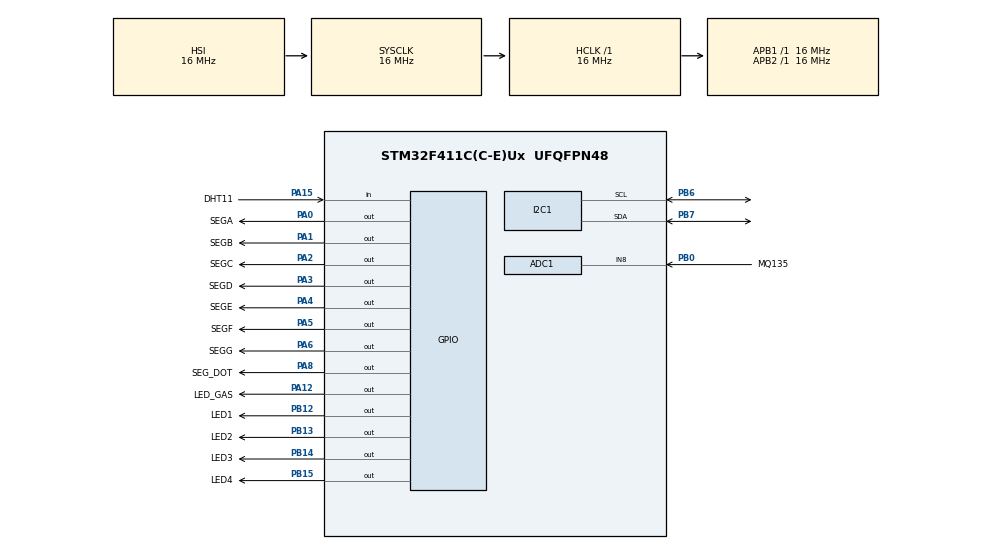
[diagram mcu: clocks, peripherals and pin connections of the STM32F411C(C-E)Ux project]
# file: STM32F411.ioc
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ADC1.Channel-0\#ChannelRegularConversion=ADC_CHANNEL_8
ADC1.NbrOfConversionFlag=1
ADC1.Rank-0\#ChannelRegularConversion=1
ADC1.SamplingTime-0\#ChannelRegularConversion=ADC_SAMPLETIME_3CYCLES
ADC1.master=1
Mcu.Family=STM32F4
Mcu.Name=STM32F411C(C-E)Ux
Mcu.Package=UFQFPN48
NVIC.I2C1_EV_IRQn=true\:0\:0\:false\:false\:true\:true\:true
NVIC.PriorityGroup=NVIC_PRIORITYGROUP_4
NVIC.TIM2_IRQn=true\:0\:0\:false\:false\:true\:true\:true
NVIC.TIM3_IRQn=true\:0\:0\:false\:false\:true\:true\:true
PA0-WKUP.GPIO_Label=SEGA
PA0-WKUP.GPIO_Speed=GPIO_SPEED_FREQ_HIGH
PA0-WKUP.Signal=GPIO_Output
PA1.GPIO_Label=SEGB
PA1.GPIO_Speed=GPIO_SPEED_FREQ_HIGH
PA1.Signal=GPIO_Output
PA12.GPIO_Label=LED_GAS
PA12.GPIO_Speed=GPIO_SPEED_FREQ_HIGH
PA12.Signal=GPIO_Output
PA13.Mode=Serial_Wire
PA13.Signal=SYS_JTMS-SWDIO
PA14.Mode=Serial_Wire
PA14.Signal=SYS_JTCK-SWCLK
PA15.GPIO_Label=DHT11
PA15.GPIO_PuPd=GPIO_PULLUP
PA15.Signal=GPIO_Input
PA2.GPIO_Label=SEGC
PA2.GPIO_Speed=GPIO_SPEED_FREQ_HIGH
PA2.Signal=GPIO_Output
PA3.GPIO_Label=SEGD
PA3.GPIO_Speed=GPIO_SPEED_FREQ_HIGH
PA3.PinState=GPIO_PIN_RESET
PA3.Signal=GPIO_Output
PA4.GPIO_Label=SEGE
PA4.GPIO_Speed=GPIO_SPEED_FREQ_HIGH
PA4.Signal=GPIO_Output
PA5.GPIO_Label=SEGF
PA5.GPIO_Speed=GPIO_SPEED_FREQ_HIGH
PA5.Signal=GPIO_Output
PA6.GPIO_Label=SEGG
PA6.GPIO_Speed=GPIO_SPEED_FREQ_HIGH
PA6.Signal=GPIO_Output
PA8.GPIO_Label=SEG_DOT
PA8.GPIO_Speed=GPIO_SPEED_FREQ_HIGH
PA8.Signal=GPIO_Output
PB0.GPIO_Label=MQ135
PB0.Signal=ADCx_IN8
PB12.GPIO_Label=LED1
PB12.GPIO_Speed=GPIO_SPEED_FREQ_HIGH
PB12.PinState=GPIO_PIN_SET
PB12.Signal=GPIO_Output
PB13.GPIO_Label=LED2
PB13.GPIO_Speed=GPIO_SPEED_FREQ_HIGH
PB13.PinState=GPIO_PIN_SET
PB13.Signal=GPIO_Output
PB14.GPIO_Label=LED3
PB14.GPIO_Speed=GPIO_SPEED_FREQ_HIGH
PB14.PinState=GPIO_PIN_SET
PB14.Signal=GPIO_Output
PB15.GPIO_Label=LED4
PB15.GPIO_Speed=GPIO_SPEED_FREQ_HIGH
PB15.PinState=GPIO_PIN_SET
PB15.Signal=GPIO_Output
PB6.Mode=I2C
PB6.Signal=I2C1_SCL
PB7.Mode=I2C
PB7.Signal=I2C1_SDA
ProjectManager.HeapSize=0x200
ProjectManager.StackSize=0x400
ProjectManager.TargetToolchain=STM32CubeIDE
RCC.AHBFreq_Value=16000000
RCC.APB1Freq_Value=16000000
RCC.APB2Freq_Value=16000000
RCC.CortexFreq_Value=16000000
RCC.HSE_VALUE=25000000
RCC.HSI_VALUE=16000000
RCC.LSE_VALUE=32768
RCC.SYSCLKFreq_VALUE=16000000
RCC.VCOOutputFreq_Value=192000000
SH.ADCx_IN8.0=ADC1_IN8,IN8
TIM2.Period=0xffffffff-1
TIM2.Prescaler=16-1
TIM3.Period=0xffff-1
TIM3.Prescaler=0xffff-1
VP_TIM2_VS_ClockSourceINT.Mode=Internal
VP_TIM3_VS_ClockSourceINT.Mode=Internal
board=custom

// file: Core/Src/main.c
/* USER CODE BEGIN Header */
/**
  ******************************************************************************
  * @file           : main.c
  * @brief          : Main program body
  ******************************************************************************
  * @attention
  *
  * <h2><center>&copy; Copyright (c) 2021 STMicroelectronics.
  * All rights reserved.</center></h2>
  *
  * This software component is licensed by ST under BSD 3-Clause license,
  * the "License"; You may not use this file except in compliance with the
  * License. You may obtain a copy of the License at:
  *                        opensource.org/licenses/BSD-3-Clause
  *
  ******************************************************************************
  */
/* USER CODE END Header */
#include "main.h"

/* USER CODE BEGIN Includes */
#include "stdio.h"
/* USER CODE END Includes */

/* USER CODE BEGIN PD */
#define SLAVE_ADDRESS_LCD 		0x4E //dia chi i2c
/* USER CODE END PD */

ADC_HandleTypeDef hadc1;

I2C_HandleTypeDef hi2c1;

TIM_HandleTypeDef htim2;
TIM_HandleTypeDef htim3;

void SystemClock_Config(void);
static void MX_GPIO_Init(void);
static void MX_I2C1_Init(void);
static void MX_TIM2_Init(void);
static void MX_TIM3_Init(void);
static void MX_ADC1_Init(void);

/* USER CODE BEGIN 0 */
/***************************** LED 7 THANH ***************************************/
uint8_t SEG7_LOOKUP_TABLE[] = {0b11111100, 0b01100000, 0b11011010, 0b11110010, 0b01100110, 0b10110110, 0b10111110, 0b11100000, 0b11111110, 0b11110110};
uint8_t SEG7_LED_LOOKUP_TABLE[] = {0b00000000, 0b00001000, 0b00000100, 0b00000010, 0b00000001};
uint8_t SEG7_Multiplex = 1;
int SEG7_displayNumber;
// seg_data tuong ung 0bABCDEFGdot
// led_data 0bxxxx1234 tuong tung led 7 thanh so 1, so 2, so 3, so 4
void SEG7_Display(uint8_t seg_data, uint8_t led_data)
{
	HAL_GPIO_WritePin(SEGA_GPIO_Port, SEGA_Pin, seg_data&0b10000000);
	HAL_GPIO_WritePin(SEGB_GPIO_Port, SEGB_Pin, seg_data&0b01000000);
	HAL_GPIO_WritePin(SEGC_GPIO_Port, SEGC_Pin, seg_data&0b00100000);
	HAL_GPIO_WritePin(SEGD_GPIO_Port, SEGD_Pin, seg_data&0b00010000);
	HAL_GPIO_WritePin(SEGE_GPIO_Port, SEGE_Pin, seg_data&0b00001000);
	HAL_GPIO_WritePin(SEGF_GPIO_Port, SEGF_Pin, seg_data&0b00000100);
	HAL_GPIO_WritePin(SEGG_GPIO_Port, SEGG_Pin, seg_data&0b00000010);
	HAL_GPIO_WritePin(SEG_DOT_GPIO_Port, SEG_DOT_Pin, seg_data&0b00000001);

	HAL_GPIO_WritePin(GPIOB, LED1_Pin, !(led_data&0b00001000));
	HAL_GPIO_WritePin(GPIOB, LED2_Pin, !(led_data&0b00000100));
	HAL_GPIO_WritePin(GPIOB, LED3_Pin, !(led_data&0b00000010));
	HAL_GPIO_WritePin(GPIOB, LED4_Pin, !(led_data&0b00000001));
}
/***************************** LED 7 THANH ***************************************/

/***************************** TIMER ***************************************/
// ham ngat timer3 de multiplex 4 led 7 thanh. timer3 ngat moi 4ms. Moi lan ngat se
// hien thi 1 led 7 doan. Sau 4 lan ngat thi quay lai led 7 doan so 1, hoan thanh 1 chu ki hien thi
void HAL_TIM_PeriodElapsedCallback(TIM_HandleTypeDef *htim)
{
	if(htim->Instance == TIM3)
	{
		char temp;
		int number = SEG7_displayNumber;
			switch(SEG7_Multiplex) // chuyen so thanh cac chu so tuong ung de hien thi
			{
			case 1:
				temp = number%10;
				number /= 10;
			case 2:
				temp = number%10;
				number /= 10;
			case 3:
				temp = number%10;
				number /= 10;
			case 4:
				temp = number%10;
			}
			if(SEG7_Multiplex == 3) // chu so thu 3 co dau phay di kem
			{
				SEG7_Display(SEG7_LOOKUP_TABLE[temp]|0x01, SEG7_LED_LOOKUP_TABLE[SEG7_Multiplex]);
			}
			else // cac chu so 1 2 va 4
			{
				SEG7_Display(SEG7_LOOKUP_TABLE[temp], SEG7_LED_LOOKUP_TABLE[SEG7_Multiplex]);
			}
			SEG7_Multiplex++; // hien thi chu so tiep theo vao lan sau
			if(SEG7_Multiplex > 4)
			{
				SEG7_Multiplex = 1;
			}
	}
}
/***************************** TIMER ***************************************/

/***************************** DHT11 ***************************************/
uint8_t DHT11_Temperature = 0; // gia tri nhiet do doc duoc tu dht11
uint8_t DHT11_Humidity = 0; // gia tri do am doc duoc tu dht11
uint8_t hByte1, hByte2, tByte1, tByte2, presence; // bien luu tru gia tri doc duoc tu dht11
uint8_t checksum;	//bien luu tru gia tri doc duoc tu dht11
/**
  * @brief GPIO Initialization Function
  * @param None
  * @retval None
  */
// Chuyen chan DHT11 thanh input de doc tin hieu tu cam bien
static void DHT11_GpioInput(void)
{
  GPIO_InitTypeDef GPIO_InitStruct = {0};
  /*Configure GPIO pin : PA15 */
  GPIO_InitStruct.Pin = GPIO_PIN_15;
  GPIO_InitStruct.Mode = GPIO_MODE_INPUT;
  GPIO_InitStruct.Pull = GPIO_PULLUP;
  HAL_GPIO_Init(GPIOA, &GPIO_InitStruct);
}

/**
  * @brief GPIO Initialization Function
  * @param None
  * @retval None
  */
// Chuyen chan dht11 thanh output de gui tin hieu den cam bien
static void DHT11_GpioOutput(void)
{
  GPIO_InitTypeDef GPIO_InitStruct = {0};
  /*Configure GPIO pin Output Level */
  HAL_GPIO_WritePin(GPIOA, GPIO_PIN_15, GPIO_PIN_RESET);

  /*Configure GPIO pin : PA15 */
  GPIO_InitStruct.Pin = GPIO_PIN_15;
  GPIO_InitStruct.Mode = GPIO_MODE_OUTPUT_PP;
  GPIO_InitStruct.Pull = GPIO_NOPULL;
  GPIO_InitStruct.Speed = GPIO_SPEED_FREQ_HIGH;
  HAL_GPIO_Init(GPIOA, &GPIO_InitStruct);
}

// hàm delay us trong quá trình doc dữ liệu từ dht11. su dung timer2 de tao delay 1us
void TIM2_DelayUs(uint16_t us)
{
  __HAL_TIM_SET_COUNTER(&htim2, 0);
  while ((uint16_t)__HAL_TIM_GET_COUNTER(&htim2) < us)
    ;
}

// gửi tín hiệu bắt đầu truyen dữ liệu cho dht11
void DHT11_SendStart(void)
{
  DHT11_GpioOutput();
  HAL_GPIO_WritePin(GPIOA, GPIO_PIN_15, GPIO_PIN_RESET);
  HAL_Delay(18);
  HAL_GPIO_WritePin(GPIOA, GPIO_PIN_15, GPIO_PIN_SET);
  TIM2_DelayUs(20);
  DHT11_GpioInput();
}

// hàm kiểm tra phản hồi của dht11
uint8_t DHT11_CheckRespone(void)
{
  uint8_t respone = 0;
  TIM2_DelayUs(40);
  if (!HAL_GPIO_ReadPin(GPIOA, GPIO_PIN_15))
  {
    TIM2_DelayUs(80);
    if ((HAL_GPIO_ReadPin(GPIOA, GPIO_PIN_15)))
    {
      respone = 1;
    }
    else
    {
      respone = -1;
    }
  }
  while (HAL_GPIO_ReadPin(GPIOA, GPIO_PIN_15))
    ;
  return respone;
}

// đ�?c 1 byte dữ liệu từ dht11
uint8_t DHT11_ReadByte(void)
{
  uint8_t ret = 0, i;
  for (i = 0; i < 8; i++)
  {
    while (!HAL_GPIO_ReadPin(GPIOA, GPIO_PIN_15))
      ;
    TIM2_DelayUs(40);
    if (!HAL_GPIO_ReadPin(GPIOA, GPIO_PIN_15))
    {
      ret &= ~(1 << (7 - i));
    }
    else
    {
      ret |= (1 << (7 - i));
    }
    while ((HAL_GPIO_ReadPin(GPIOA, GPIO_PIN_15)))
      ;
  }
  return ret;
}

// đ�?c dữ liệu từ dht11 và chuyển đổi thành giá trị nhiệt độ và độ ẩm
void DHT11_ReadSensor(void)
{
  DHT11_SendStart();
  presence = DHT11_CheckRespone();
  hByte1 = DHT11_ReadByte();
  hByte2 = DHT11_ReadByte();
  tByte1 = DHT11_ReadByte();
  tByte2 = DHT11_ReadByte();
  checksum = DHT11_ReadByte();
  DHT11_Temperature = tByte1;
  DHT11_Humidity = hByte1;
}
/***************************** DHT11 ***************************************/

/***************************** LCD1602 I2C ***************************************/
// gui lenh den dieu khien lcd i2c
void LCD_send_cmd (char cmd)
{
  char data_u, data_l;
	uint8_t data_t[4];
	data_u = (cmd&0xf0);
	data_l = ((cmd<<4)&0xf0);
	data_t[0] = data_u|0x0C;  //en=1, rs=0
	data_t[1] = data_u|0x08;  //en=0, rs=0
	data_t[2] = data_l|0x0C;  //en=1, rs=0
	data_t[3] = data_l|0x08;  //en=0, rs=0
	HAL_I2C_Master_Transmit(&hi2c1, SLAVE_ADDRESS_LCD,(uint8_t *) data_t, 4, 100);
}

// gui du lieu den lcd i2c
void LCD_send_data (char data)
{
	char data_u, data_l;
	uint8_t data_t[4];
	data_u = (data&0xf0);
	data_l = ((data<<4)&0xf0);
	data_t[0] = data_u|0x0D;  //en=1, rs=0
	data_t[1] = data_u|0x09;  //en=0, rs=0
	data_t[2] = data_l|0x0D;  //en=1, rs=0
	data_t[3] = data_l|0x09;  //en=0, rs=0
	HAL_I2C_Master_Transmit(&hi2c1, SLAVE_ADDRESS_LCD,(uint8_t *) data_t, 4, 100);
}

// khoi dau cho lcd1602 theo datasheet
void LCD_init (void)
{
	// 4 bit init
	HAL_Delay(50);  // wait for >40ms
	LCD_send_cmd (0x30);
	HAL_Delay(5);  // wait for >4.1ms
	LCD_send_cmd (0x30);
	HAL_Delay(1);  // wait for >100us
	LCD_send_cmd (0x30);
	HAL_Delay(10);
	LCD_send_cmd (0x20);  // 4bit mode
	HAL_Delay(10);

  // dislay init
	LCD_send_cmd (0x28); // Function set --> DL=0 (4 bit mode), N = 1 (2 line display) F = 0 (5x8 characters)
	HAL_Delay(1);
	LCD_send_cmd (0x08); //Display on/off control --> D=0,C=0, B=0  ---> display off
	HAL_Delay(1);
	LCD_send_cmd (0x01);  // clear display
	HAL_Delay(1);
	HAL_Delay(1);
	LCD_send_cmd (0x06); //Entry mode set --> I/D = 1 (increment cursor) & S = 0 (no shift)
	HAL_Delay(1);
	LCD_send_cmd (0x0C); //Display on/off control --> D = 1, C and B = 0. (Cursor and blink, last two bits)
}

//  gui mot chuoi den lcd
void LCD_send_string (char *str)
{
	while (*str) LCD_send_data (*str++);
}

// xoa man hinh lcd
void LCD_clear_display (void)
{
	LCD_send_cmd (0x80);
	for (int i=0; i<70; i++)
	{
		LCD_send_data (' ');
	}
}

// di chuyen con tro lcd
void LCD_goto_XY (int row, int col)
{
	switch (row)
    {
        case 0:
            col |= 0x80;
            break;
        case 1:
            col |= 0xC0;
            break;
    }

    LCD_send_cmd (col);
}

// Hien thi thong tin nhiet do va do am len LCD
void LCD_Display(void)
{
  char tempString[4];
  LCD_clear_display(); // xoa
  LCD_goto_XY(0, 0); // di chuyen den hang 1 cot 1
  LCD_send_string("Temp: ");
  sprintf(tempString, "%u", DHT11_Temperature); // chuyen gia tri nhiet do sang chuoi
  LCD_send_string(tempString);
  LCD_send_string(" *C");
  LCD_goto_XY(1,0);
  LCD_send_string("Humid: ");
  sprintf(tempString, "%u", DHT11_Humidity); // chuyen gia tri do am sang chuoi
  LCD_send_string(tempString);
  LCD_send_string(" %");
}
/***************************** LCD1602 I2C ***************************************/

/***************************** MQ135 ***************************************/
uint16_t MQ135_Raw;
float MQ135_R0 = 176.0; // thong so theo thu vien
float MQ135_R2 = 1000.0; // thong so dien tro tren mach
float MQ135_Rs;
float MQ135_ppm = 0;
float MQ135_alarm = 500; // nguong neu gia tri ppm cua mq135 lon hon se dua ra canh bao
// doc adc va chuyen doi gia tri adc
void MQ135_ReadSensor()
{
	float volts;
	MQ135_Raw = HAL_ADC_GetValue(&hadc1);
	// chuyen gia tri adc sang dien ap
	volts = (float) MQ135_Raw*3.3;
	volts = volts/4095.0;
	// tinh gia tri Rs
	MQ135_Rs = (float) MQ135_R2*(1-volts);
	MQ135_Rs = (float) MQ135_Rs/volts;
	// tinh nong do ppm
	MQ135_ppm = 159.6-133.33*(MQ135_Rs/MQ135_R0);
	// hien thi led canh bao khi khi gas vuot nguong dat
	if(MQ135_ppm > MQ135_alarm)
	{
		HAL_GPIO_WritePin(LED_GAS_GPIO_Port, LED_GAS_Pin, GPIO_PIN_SET);
	}
	else
	{
		HAL_GPIO_WritePin(LED_GAS_GPIO_Port, LED_GAS_Pin, GPIO_PIN_RESET);
	}
}
/***************************** MQ135 ***************************************/

/* USER CODE END 0 */

int main(void)
{

  /* MCU Configuration--------------------------------------------------------*/

  /* Reset of all peripherals, Initializes the Flash interface and the Systick. */
  HAL_Init();

  /* Configure the system clock */
  SystemClock_Config();

  /* Initialize all configured peripherals */
  MX_GPIO_Init();
  MX_I2C1_Init();
  MX_TIM2_Init();
  MX_TIM3_Init();
  MX_ADC1_Init();
  /* USER CODE BEGIN 2 */
  HAL_TIM_Base_Start_IT(&htim3);
  HAL_TIM_Base_Start(&htim2);
  HAL_ADC_Start(&hadc1);
  /* USER CODE END 2 */

  /* Infinite loop */
  /* USER CODE BEGIN WHILE */
  while (1)
  {
	  // Doc cam bien DHT11
	  DHT11_ReadSensor();
	  // Doc cam bien MQ135
	  MQ135_ReadSensor();
	  SEG7_displayNumber = (int)MQ135_ppm*10; //nhan gia tri ppm voi 10 de hien thi 1 chu so sau dau phay
	  // Hien thi nhiet do va do am len LCD
	  LCD_Display();
	  HAL_Delay(1000); // 1s cap nhat gia tri 1 lan
    /* USER CODE END WHILE */

  }
}

void SystemClock_Config(void)
{
  RCC_OscInitTypeDef RCC_OscInitStruct = {0};
  RCC_ClkInitTypeDef RCC_ClkInitStruct = {0};

  /** Configure the main internal regulator output voltage
  */
  __HAL_RCC_PWR_CLK_ENABLE();
  __HAL_PWR_VOLTAGESCALING_CONFIG(PWR_REGULATOR_VOLTAGE_SCALE1);
  /** Initializes the RCC Oscillators according to the specified parameters
  * in the RCC_OscInitTypeDef structure.
  */
  RCC_OscInitStruct.OscillatorType = RCC_OSCILLATORTYPE_HSI;
  RCC_OscInitStruct.HSIState = RCC_HSI_ON;
  RCC_OscInitStruct.HSICalibrationValue = RCC_HSICALIBRATION_DEFAULT;
  RCC_OscInitStruct.PLL.PLLState = RCC_PLL_NONE;
  if (HAL_RCC_OscConfig(&RCC_OscInitStruct) != HAL_OK)
  {
    Error_Handler();
  }
  /** Initializes the CPU, AHB and APB buses clocks
  */
  RCC_ClkInitStruct.ClockType = RCC_CLOCKTYPE_HCLK|RCC_CLOCKTYPE_SYSCLK
                              |RCC_CLOCKTYPE_PCLK1|RCC_CLOCKTYPE_PCLK2;
  RCC_ClkInitStruct.SYSCLKSource = RCC_SYSCLKSOURCE_HSI;
  RCC_ClkInitStruct.AHBCLKDivider = RCC_SYSCLK_DIV1;
  RCC_ClkInitStruct.APB1CLKDivider = RCC_HCLK_DIV1;
  RCC_ClkInitStruct.APB2CLKDivider = RCC_HCLK_DIV1;

  if (HAL_RCC_ClockConfig(&RCC_ClkInitStruct, FLASH_LATENCY_0) != HAL_OK)
  {
    Error_Handler();
  }
}

static void MX_ADC1_Init(void)
{

  ADC_ChannelConfTypeDef sConfig = {0};

  /** Configure the global features of the ADC (Clock, Resolution, Data Alignment and number of conversion)
  */
  hadc1.Instance = ADC1;
  hadc1.Init.ClockPrescaler = ADC_CLOCK_SYNC_PCLK_DIV2;
  hadc1.Init.Resolution = ADC_RESOLUTION_12B;
  hadc1.Init.ScanConvMode = DISABLE;
  hadc1.Init.ContinuousConvMode = DISABLE;
  hadc1.Init.DiscontinuousConvMode = DISABLE;
  hadc1.Init.ExternalTrigConvEdge = ADC_EXTERNALTRIGCONVEDGE_NONE;
  hadc1.Init.ExternalTrigConv = ADC_SOFTWARE_START;
  hadc1.Init.DataAlign = ADC_DATAALIGN_RIGHT;
  hadc1.Init.NbrOfConversion = 1;
  hadc1.Init.DMAContinuousRequests = DISABLE;
  hadc1.Init.EOCSelection = ADC_EOC_SINGLE_CONV;
  if (HAL_ADC_Init(&hadc1) != HAL_OK)
  {
    Error_Handler();
  }
  /** Configure for the selected ADC regular channel its corresponding rank in the sequencer and its sample time.
  */
  sConfig.Channel = ADC_CHANNEL_8;
  sConfig.Rank = 1;
  sConfig.SamplingTime = ADC_SAMPLETIME_3CYCLES;
  if (HAL_ADC_ConfigChannel(&hadc1, &sConfig) != HAL_OK)
  {
    Error_Handler();
  }

}

static void MX_I2C1_Init(void)
{

  hi2c1.Instance = I2C1;
  hi2c1.Init.ClockSpeed = 100000;
  hi2c1.Init.DutyCycle = I2C_DUTYCYCLE_2;
  hi2c1.Init.OwnAddress1 = 0;
  hi2c1.Init.AddressingMode = I2C_ADDRESSINGMODE_7BIT;
  hi2c1.Init.DualAddressMode = I2C_DUALADDRESS_DISABLE;
  hi2c1.Init.OwnAddress2 = 0;
  hi2c1.Init.GeneralCallMode = I2C_GENERALCALL_DISABLE;
  hi2c1.Init.NoStretchMode = I2C_NOSTRETCH_DISABLE;
  if (HAL_I2C_Init(&hi2c1) != HAL_OK)
  {
    Error_Handler();
  }

}

static void MX_TIM2_Init(void)
{

  TIM_ClockConfigTypeDef sClockSourceConfig = {0};
  TIM_MasterConfigTypeDef sMasterConfig = {0};

  htim2.Instance = TIM2;
  htim2.Init.Prescaler = 16-1;
  htim2.Init.CounterMode = TIM_COUNTERMODE_UP;
  htim2.Init.Period = 0xffffffff-1;
  htim2.Init.ClockDivision = TIM_CLOCKDIVISION_DIV1;
  htim2.Init.AutoReloadPreload = TIM_AUTORELOAD_PRELOAD_DISABLE;
  if (HAL_TIM_Base_Init(&htim2) != HAL_OK)
  {
    Error_Handler();
  }
  sClockSourceConfig.ClockSource = TIM_CLOCKSOURCE_INTERNAL;
  if (HAL_TIM_ConfigClockSource(&htim2, &sClockSourceConfig) != HAL_OK)
  {
    Error_Handler();
  }
  sMasterConfig.MasterOutputTrigger = TIM_TRGO_RESET;
  sMasterConfig.MasterSlaveMode = TIM_MASTERSLAVEMODE_DISABLE;
  if (HAL_TIMEx_MasterConfigSynchronization(&htim2, &sMasterConfig) != HAL_OK)
  {
    Error_Handler();
  }

}

static void MX_TIM3_Init(void)
{

  TIM_ClockConfigTypeDef sClockSourceConfig = {0};
  TIM_MasterConfigTypeDef sMasterConfig = {0};

  htim3.Instance = TIM3;
  htim3.Init.Prescaler = 0xffff-1;
  htim3.Init.CounterMode = TIM_COUNTERMODE_UP;
  htim3.Init.Period = 0xffff-1;
  htim3.Init.ClockDivision = TIM_CLOCKDIVISION_DIV1;
  htim3.Init.AutoReloadPreload = TIM_AUTORELOAD_PRELOAD_DISABLE;
  if (HAL_TIM_Base_Init(&htim3) != HAL_OK)
  {
    Error_Handler();
  }
  sClockSourceConfig.ClockSource = TIM_CLOCKSOURCE_INTERNAL;
  if (HAL_TIM_ConfigClockSource(&htim3, &sClockSourceConfig) != HAL_OK)
  {
    Error_Handler();
  }
  sMasterConfig.MasterOutputTrigger = TIM_TRGO_RESET;
  sMasterConfig.MasterSlaveMode = TIM_MASTERSLAVEMODE_DISABLE;
  if (HAL_TIMEx_MasterConfigSynchronization(&htim3, &sMasterConfig) != HAL_OK)
  {
    Error_Handler();
  }

}

static void MX_GPIO_Init(void)
{
  GPIO_InitTypeDef GPIO_InitStruct = {0};

  /* GPIO Ports Clock Enable */
  __HAL_RCC_GPIOA_CLK_ENABLE();
  __HAL_RCC_GPIOB_CLK_ENABLE();

  /*Configure GPIO pin Output Level */
  HAL_GPIO_WritePin(GPIOA, SEGA_Pin|SEGB_Pin|SEGC_Pin|SEGD_Pin
                          |SEGE_Pin|SEGF_Pin|SEGG_Pin|SEG_DOT_Pin
                          |LED_GAS_Pin, GPIO_PIN_RESET);

  /*Configure GPIO pin Output Level */
  HAL_GPIO_WritePin(GPIOB, LED1_Pin|LED2_Pin|LED3_Pin|LED4_Pin, GPIO_PIN_SET);

  /*Configure GPIO pins : SEGA_Pin SEGB_Pin SEGC_Pin SEGD_Pin
                           SEGE_Pin SEGF_Pin SEGG_Pin SEG_DOT_Pin
                           LED_GAS_Pin */
  GPIO_InitStruct.Pin = SEGA_Pin|SEGB_Pin|SEGC_Pin|SEGD_Pin
                          |SEGE_Pin|SEGF_Pin|SEGG_Pin|SEG_DOT_Pin
                          |LED_GAS_Pin;
  GPIO_InitStruct.Mode = GPIO_MODE_OUTPUT_PP;
  GPIO_InitStruct.Pull = GPIO_NOPULL;
  GPIO_InitStruct.Speed = GPIO_SPEED_FREQ_HIGH;
  HAL_GPIO_Init(GPIOA, &GPIO_InitStruct);

  /*Configure GPIO pins : LED1_Pin LED2_Pin LED3_Pin LED4_Pin */
  GPIO_InitStruct.Pin = LED1_Pin|LED2_Pin|LED3_Pin|LED4_Pin;
  GPIO_InitStruct.Mode = GPIO_MODE_OUTPUT_PP;
  GPIO_InitStruct.Pull = GPIO_NOPULL;
  GPIO_InitStruct.Speed = GPIO_SPEED_FREQ_HIGH;
  HAL_GPIO_Init(GPIOB, &GPIO_InitStruct);

  /*Configure GPIO pin : DHT11_Pin */
  GPIO_InitStruct.Pin = DHT11_Pin;
  GPIO_InitStruct.Mode = GPIO_MODE_INPUT;
  GPIO_InitStruct.Pull = GPIO_PULLUP;
  HAL_GPIO_Init(DHT11_GPIO_Port, &GPIO_InitStruct);

}

void Error_Handler(void)
{
  __disable_irq();
  while (1)
  {
  }
}

/************************ (C) COPYRIGHT STMicroelectronics *****END OF FILE****/
